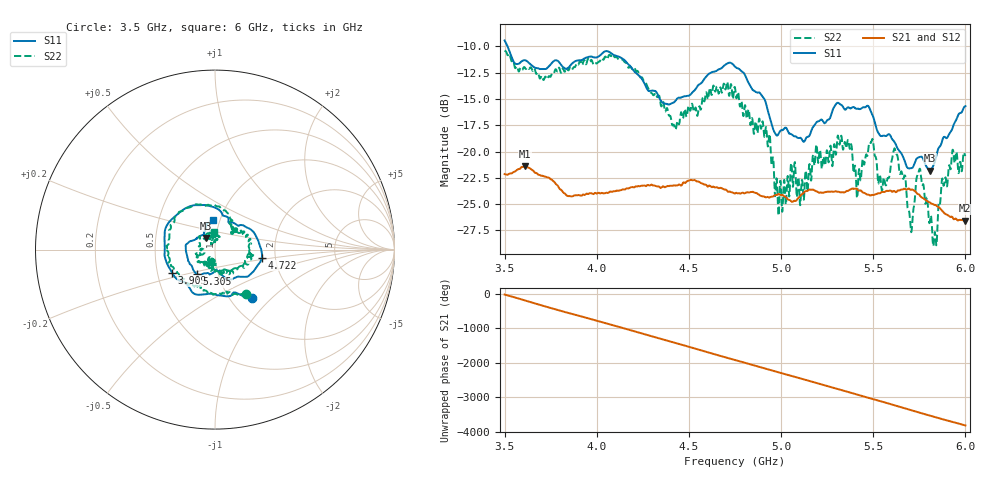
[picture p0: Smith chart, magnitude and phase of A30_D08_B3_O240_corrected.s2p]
! Created with skrf 1.9.0 (http://scikit-rf.org).
# Hz S RI R 50.0
!freq ReS11 ImS11 ReS21 ImS21 ReS12 ImS12 ReS22 ImS22
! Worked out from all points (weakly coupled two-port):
!   1601 points, 3.5 GHz to 6 GHz, reference 50 ohm
!   highest |S21| = -21.40 dB at 3.611 GHz (marker M1); lowest = -26.6 dB at 5.997 GHz (marker M2)
!   lowest |S11| = -21.8 dB at 5.808 GHz (marker M3), VSWR 1.18, Z = 45 + j5.91 ohm
!   |S11| at or under -10 dB: 3.516 GHz to end of sweep
!   |S22| runs from -29.0 to -10.4 dB; largest |S21 - S12| = 0.0011
!   S11 on the Smith chart (normalised r, x): 3.5 GHz: 1.26, -0.76; 3.909 GHz: 0.60, -0.17; 4.722 GHz: 1.70, -0.16; 5.305 GHz: 0.79, -0.22; 6 GHz: 0.92, +0.31
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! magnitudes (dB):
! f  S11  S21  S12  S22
! 3.5 GHz  -9.4  -22.1  -22.1  -10.4
! 3.611 GHz  -11.3  -21.4  -21.4  -12.1
! 3.909 GHz  -11.3  -24.2  -24.1  -11.4
! 3.917 GHz  -11.3  -24.2  -24.2  -11.7
! 4.334 GHz  -14.7  -23.3  -23.3  -14.7
! 4.422 GHz  -15.3  -23.2  -23.2  -17.6
! 4.722 GHz  -11.5  -23.8  -23.8  -14.4
! 4.75 GHz  -11.9  -24.0  -23.9  -13.9
! 4.928 GHz  -16.1  -24.3  -24.3  -19.5
! 4.995 GHz  -18.0  -24.1  -24.1  -22.8
! 5.167 GHz  -17.9  -23.6  -23.6  -21.8
! 5.305 GHz  -15.4  -23.8  -23.8  -18.9
! 5.419 GHz  -15.9  -23.7  -23.7  -22.6
! 5.584 GHz  -18.3  -23.7  -23.7  -22.5
! 5.623 GHz  -19.4  -23.9  -23.8  -20.1
! 5.705 GHz  -21.6  -23.6  -23.6  -27.6
! 5.75 GHz  -20.5  -24.1  -24.1  -21.7
! 5.808 GHz  -21.8  -24.9  -24.8  -26.5
! 5.834 GHz  -20.9  -25.1  -25.0  -27.6
! 5.881 GHz  -18.7  -25.8  -25.7  -23.3
! 5.997 GHz  -15.7  -26.6  -26.5  -20.3
! 6 GHz  -15.7  -26.6  -26.5  -20.3
